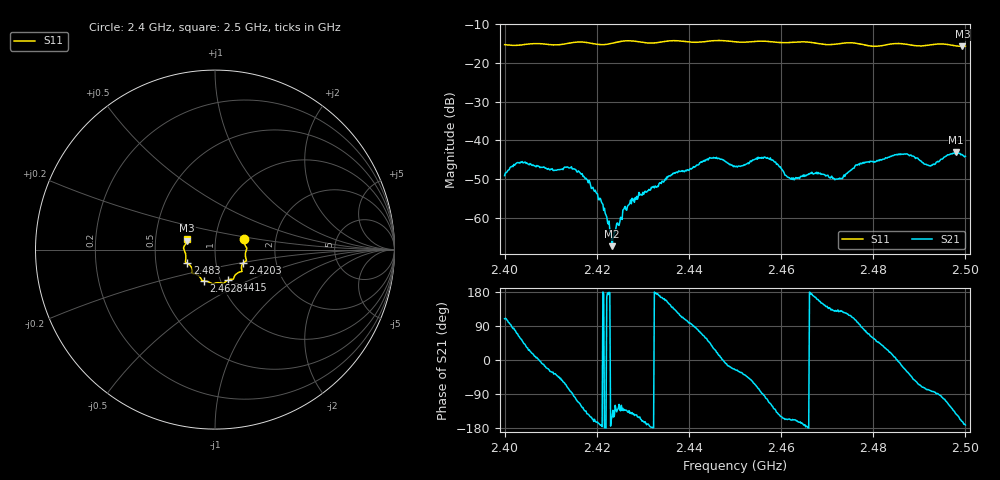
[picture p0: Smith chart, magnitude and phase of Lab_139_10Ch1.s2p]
# Hz S RI R 50
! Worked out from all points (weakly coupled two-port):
!   601 points, 2.4 GHz to 2.5 GHz, reference 50 ohm
!   highest |S21| = -43.09 dB at 2.498 GHz (marker M1); lowest = -67.2 dB at 2.4233 GHz (marker M2)
!   lowest |S11| = -15.7 dB at 2.4993 GHz (marker M3), VSWR 1.39, Z = 36.4 + j3.68 ohm
!   |S11| at or under -10 dB: start of sweep to end of sweep
!   S12 and S22 are empty: the file has one direction only
!   S11 on the Smith chart (normalised r, x): 2.4 GHz: 1.38, +0.16; 2.4203 GHz: 1.35, -0.21; 2.4415 GHz: 1.09, -0.38; 2.4628 GHz: 0.83, -0.30; 2.483 GHz: 0.73, -0.11; 2.5 GHz: 0.73, +0.09
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2.4e9  0.1625 0.0563  -0.00115 0.00333  0 0  0 0
2.404e9  0.1708 0.0189  0.0035 0.00379  0 0  0 0
2.416667e9  0.1752 -0.062  -0.00195 -0.0031  0 0  0 0
2.420333e9  0.1561 -0.075  -0.00171 -0.0004  0 0  0 0
2.423333e9  0.1474 -0.1016  -0.000375 -0.000219  0 0  0 0
2.4275e9  0.1492 -0.122  -0.0012 -0.000943  0 0  0 0
2.433333e9  0.1085 -0.148  -0.00253 0.000324  0 0  0 0
2.4415e9  0.0733 -0.169  0.000397 0.00466  0 0  0 0
2.4455e9  0.0502 -0.1872  0.00523 0.00286  0 0  0 0
2.45e9  0.0295 -0.1848  0.00415 -0.00197  0 0  0 0
2.456833e9  -0.0171 -0.189  -0.00122 -0.00578  0 0  0 0
2.462833e9  -0.0624 -0.1744  -0.00287 -0.00119  0 0  0 0
2.466667e9  -0.0755 -0.1671  -0.00388 0.00038  0 0  0 0
2.472833e9  -0.1164 -0.1345  -0.00198 0.00252  0 0  0 0
2.476667e9  -0.1256 -0.1261  -0.000761 0.00483  0 0  0 0
2.483e9  -0.1538 -0.0767  0.00527 0.00271  0 0  0 0
2.483333e9  -0.1561 -0.0754  0.00557 0.00245  0 0  0 0
2.487167e9  -0.1637 -0.0593  0.00591 -0.00319  0 0  0 0
2.492333e9  -0.1707 -0.00496  0.00079 -0.00468  0 0  0 0
2.498e9  -0.1624 0.0337  -0.00558 -0.00423  0 0  0 0
2.499333e9  -0.1557 0.0492  -0.00622 -0.00199  0 0  0 0
2.5e9  -0.1539 0.0577  -0.00621 -0.000923  0 0  0 0
